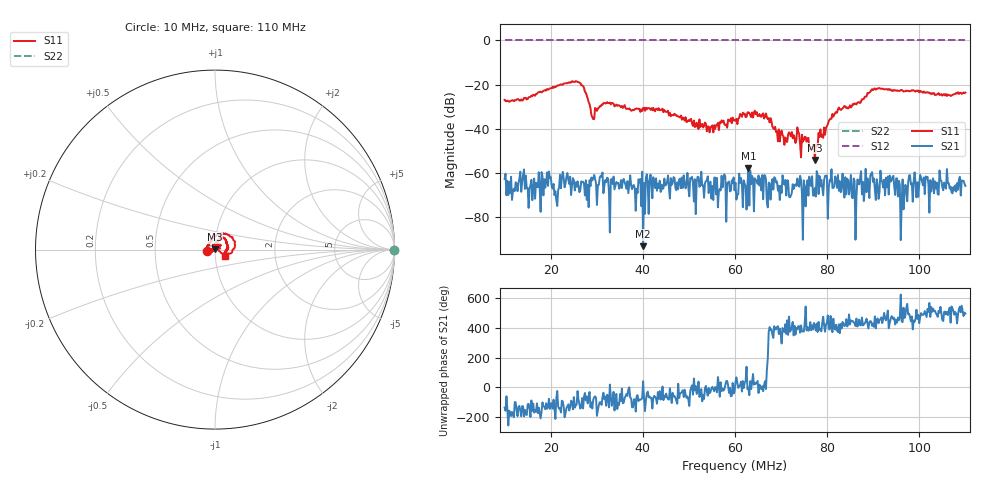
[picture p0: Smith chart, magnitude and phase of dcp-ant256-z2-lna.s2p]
! Anritsu VNA Master:  Model: MS2034B/10/19/501
! SN:  1337062
! /bd0/ovro-jan-2016/dcp-ant256-z2-lna.s2p
! Existing Calibration Information:
! TYPE:  Current Settings,  Active Cal Settings
! TIME:  01/12/2016 03:44:57 PM,  01/12/2016 03:37:40 PM
! INTERNAL TEMP:  41.8 C,  41.5 C
! # POINTS:  500,  500
! START FREQ:  10.000 MHz,  10.000 MHz
! STOP FREQ:  110.000 MHz,  110.000 MHz
! SOURCE POWER:  Low,  Low
! IFBW:  1 kHz,  1 kHz
! AVG FACTOR:  4 ,  4
! REF PLANE 1:  2.2245 m,  2.2245 m
! REF PLANE 2:  0 mm,  0 mm
! CAL TYPE:  Full S11,  Full S11
! CAL METHOD:  SOLT,  SOLT
! CAL LINE TYPE:  Coax,  Coax
! DUT PORT 1:  K-Conn(M),  K-Conn(M)
! DUT PORT 2:  N-Conn(M),  N-Conn(M)
! CAL STATUS:  OK: Accuracy High,  --
# GHZ S DB R 50.0
! FREQ.GHZ  S11DB  S11A  S21DB  S21A  S12DB  S12A  S22DB  S22A
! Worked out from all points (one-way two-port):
!   500 points, 10 MHz to 110 MHz, reference 50 ohm
!   highest |S21| = -57.66 dB at 62.91 MHz (marker M1); lowest = -93.0 dB at 40.06 MHz (marker M2)
!   lowest |S11| = -54.1 dB at 77.33 MHz (marker M3), VSWR 1.00, Z = 49.8 + j0.115 ohm
!   |S11| at or under -10 dB: start of sweep to end of sweep
!   |S22| runs from 0.0 to 0.0 dB; largest |S21 - S12| = 1
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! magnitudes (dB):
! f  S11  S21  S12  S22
! 10 MHz  -26.9  -62.6  0.0  0.0
! 15.61 MHz  -25.5  -65.4  0.0  0.0
! 19.62 MHz  -22.1  -59.2  0.0  0.0
! 21.22 MHz  -20.7  -72.3  0.0  0.0
! 22.42 MHz  -20.1  -61.8  0.0  0.0
! 26.83 MHz  -20.3  -64.1  0.0  0.0
! 27.84 MHz  -25.0  -72.1  0.0  0.0
! 29.04 MHz  -34.7  -63.3  0.0  0.0
! 39.46 MHz  -32.3  -62.6  0.0  0.0
! 40.06 MHz  -30.6  -93.0  0.0  0.0
! 43.47 MHz  -30.6  -66.8  0.0  0.0
! 54.29 MHz  -39.0  -69.0  0.0  0.0
! 60.1 MHz  -36.3  -64.3  0.0  0.0
! 62.91 MHz  -32.5  -57.7  0.0  0.0
! 76.73 MHz  -48.5  -61.4  0.0  0.0
! 77.33 MHz  -54.1  -66.7  0.0  0.0
! 82.34 MHz  -31.1  -60.8  0.0  0.0
! 85.95 MHz  -28.5  -63.5  0.0  0.0
! 93.37 MHz  -22.0  -69.6  0.0  0.0
! 96.37 MHz  -22.7  -62.8  0.0  0.0
! 97.98 MHz  -23.0  -60.9  0.0  0.0
! 110 MHz  -23.6  -65.8  0.0  0.0
